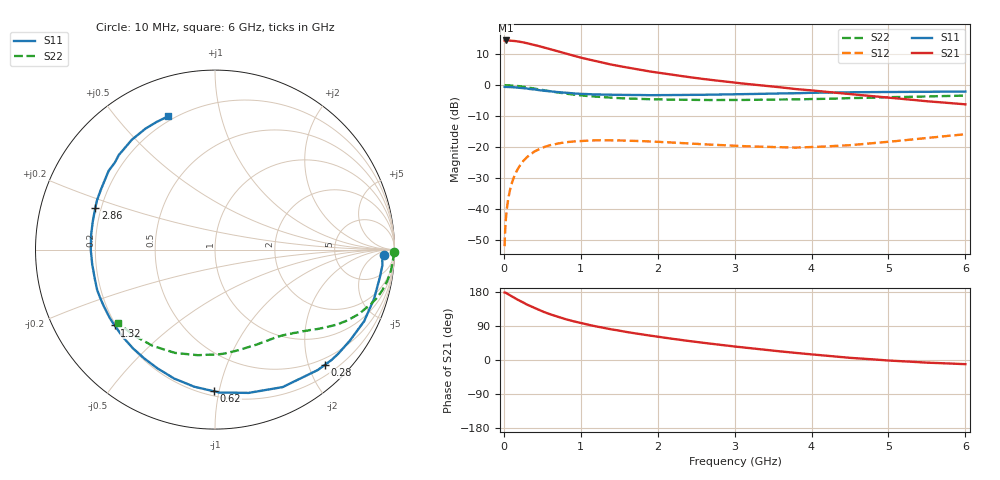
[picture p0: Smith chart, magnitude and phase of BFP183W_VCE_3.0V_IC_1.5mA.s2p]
! Infineon Technologies  Discrete & RF Semiconductors
! BFP183W
! VCE = 3.0 V,  IC =  1.5 mA
! Common Emitter S-Parameters:  Jan 2016
# GHz  S  MA  R  50
!  f  S11  S21  S12  S22
! GHz  MAG  ANG  MAG  ANG  MAG  ANG  MAG  ANG
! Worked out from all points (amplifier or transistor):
!   210 points, 10 MHz to 6 GHz, reference 50 ohm
!   highest |S21| = 14.4 dB at 25 MHz (marker M1)
!   |S21| within 3 dB of that: start of sweep to 629 MHz
!   unconditionally stable (mu >= 1): 2.515 GHz to end of sweep
!   at 185 MHz: K = 0.08, MSG = 20.5 dB, |S12| = -27.0 dB
!   at 1.52 GHz: K = 0.59, MSG = 12.0 dB, |S12| = -17.9 dB
!   at 6 GHz: K = 1.07, MAG = 3.2 dB, |S12| = -15.9 dB
!   S11 on the Smith chart (normalised r, x): 10 MHz: 26, -13; 280 MHz: 0.38, -2.27; 620 MHz: 0.23, -0.97; 1.32 GHz: 0.19, -0.32; 2.86 GHz: 0.18, +0.16; 6 GHz: 0.18, +0.69
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0.01  0.9394 -1.8  5.24 178.1  0.0025 89.8  0.999 -0.8
0.015  0.9364 -2.7  5.253 177.9  0.0039 86.7  0.9964 -1.1
0.025  0.9351 -4.5  5.267 177.3  0.0065 86.7  0.9949 -1.8
0.06  0.9302 -10.4  5.251 173.2  0.0152 83.1  0.992 -4.2
0.105  0.9261 -17.9  5.203 167.9  0.0263 79.3  0.9861 -7.1
0.2  0.9067 -34.0  5.05 156.8  0.0482 70.1  0.9606 -13.4
0.28  0.8869 -46.5  4.821 148.6  0.0647 62.9  0.93 -18.0
0.3  0.8822 -49.5  4.764 146.3  0.0685 61.3  0.9214 -19.1
0.4  0.8537 -63.8  4.463 137.0  0.0849 53.3  0.8789 -24.1
0.5  0.8201 -76.8  4.137 128.2  0.0975 46.5  0.8358 -28.2
0.62  0.7899 -90.3  3.756 119.5  0.1083 39.5  0.789 -32.2
0.8  0.7538 -107.5  3.241 107.9  0.1191 31.3  0.7306 -37.1
1.02  0.7206 -124.5  2.742 96.7  0.1256 23.5  0.6791 -41.8
1.2  0.7077 -136.4  2.428 88.6  0.1284 18.4  0.651 -45.2
1.32  0.701 -142.9  2.252 83.9  0.1286 15.9  0.635 -47.2
1.6  0.6944 -156.9  1.93 73.7  0.1269 11.4  0.6086 -51.8
2.02  0.6889 -173.6  1.578 60.8  0.1212 7.2  0.5871 -58.9
2.86  0.7059 161.0  1.148 39.0  0.1067 6.7  0.5746 -74.4
3.1  0.7144 154.9  1.063 33.4  0.1032 8.2  0.5761 -79.3
4.1  0.7535 133.8  0.799 13.3  0.101 21.5  0.5981 -101.7
5.1  0.7777 118.8  0.611 -2.4  0.1247 33.3  0.6411 -125.1
6  0.7872 109.3  0.489 -11.0  0.1609 36.0  0.677 -142.9
